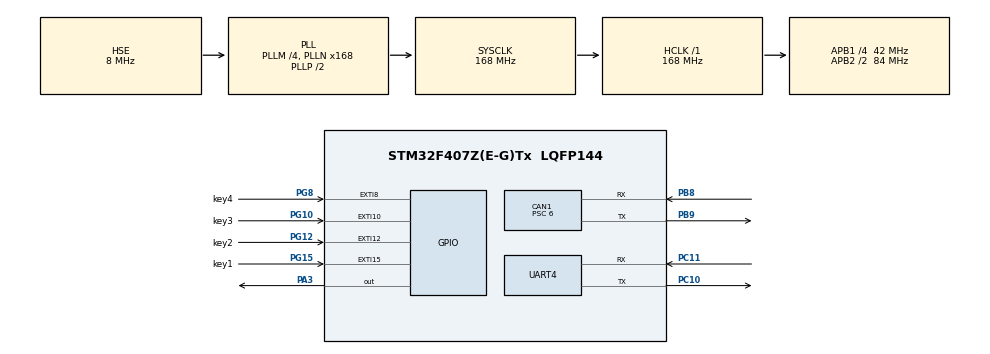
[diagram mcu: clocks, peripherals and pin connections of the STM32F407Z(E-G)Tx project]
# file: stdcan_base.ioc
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CAN1.BS1=CAN_BS1_10TQ
CAN1.BS2=CAN_BS2_3TQ
CAN1.CalculateBaudRate=500000
CAN1.CalculateTimeBit=2000
CAN1.CalculateTimeQuantum=142.85714285714286
CAN1.Prescaler=6
Mcu.Family=STM32F4
Mcu.Name=STM32F407Z(E-G)Tx
Mcu.Package=LQFP144
NVIC.CAN1_RX0_IRQn=true\:0\:0\:false\:false\:true\:true\:true
NVIC.CAN1_RX1_IRQn=true\:0\:0\:false\:false\:true\:true\:true
NVIC.CAN1_TX_IRQn=true\:0\:0\:false\:false\:true\:true\:true
NVIC.EXTI15_10_IRQn=true\:2\:0\:true\:false\:true\:true\:true
NVIC.EXTI9_5_IRQn=true\:2\:0\:true\:false\:true\:true\:true
NVIC.PriorityGroup=NVIC_PRIORITYGROUP_4
NVIC.TIM6_DAC_IRQn=true\:15\:0\:false\:false\:true\:false\:true
NVIC.TIM7_IRQn=true\:0\:0\:false\:false\:true\:true\:true
NVIC.TimeBase=TIM6_DAC_IRQn
NVIC.TimeBaseIP=TIM6
NVIC.UART4_IRQn=true\:0\:0\:false\:false\:true\:true\:true
PA3.GPIO_ModeDefaultOutputPP=GPIO_MODE_OUTPUT_PP
PA3.GPIO_PuPd=GPIO_PULLUP
PA3.GPIO_Speed=GPIO_SPEED_FREQ_HIGH
PA3.PinState=GPIO_PIN_RESET
PA3.Signal=GPIO_Output
PB8.Mode=CAN_Activate
PB8.Signal=CAN1_RX
PB9.Mode=CAN_Activate
PB9.Signal=CAN1_TX
PC10.Mode=Asynchronous
PC10.Signal=UART4_TX
PC11.Mode=Asynchronous
PC11.Signal=UART4_RX
PC14-OSC32_IN.Mode=LSE-External-Oscillator
PC14-OSC32_IN.Signal=RCC_OSC32_IN
PC15-OSC32_OUT.Mode=LSE-External-Oscillator
PC15-OSC32_OUT.Signal=RCC_OSC32_OUT
PG10.GPIO_Label=key3
PG10.GPIO_ModeDefaultEXTI=GPIO_MODE_IT_FALLING
PG10.GPIO_PuPd=GPIO_PULLUP
PG10.Signal=GPXTI10
PG12.GPIO_Label=key2
PG12.GPIO_ModeDefaultEXTI=GPIO_MODE_IT_FALLING
PG12.GPIO_PuPd=GPIO_PULLUP
PG12.Signal=GPXTI12
PG15.GPIO_Label=key1
PG15.GPIO_ModeDefaultEXTI=GPIO_MODE_IT_FALLING
PG15.GPIO_PuPd=GPIO_PULLUP
PG15.Signal=GPXTI15
PG8.GPIO_Label=key4
PG8.GPIO_ModeDefaultEXTI=GPIO_MODE_IT_FALLING
PG8.GPIO_PuPd=GPIO_PULLUP
PG8.Signal=GPXTI8
PH0-OSC_IN.Mode=HSE-External-Oscillator
PH0-OSC_IN.Signal=RCC_OSC_IN
PH1-OSC_OUT.Mode=HSE-External-Oscillator
PH1-OSC_OUT.Signal=RCC_OSC_OUT
ProjectManager.HeapSize=0x4000
ProjectManager.StackSize=0x2000
ProjectManager.TargetToolchain=MDK-ARM V5
RCC.48MHZClocksFreq_Value=84000000
RCC.AHBFreq_Value=168000000
RCC.APB1CLKDivider=RCC_HCLK_DIV4
RCC.APB1Freq_Value=42000000
RCC.APB1TimFreq_Value=84000000
RCC.APB2CLKDivider=RCC_HCLK_DIV2
RCC.APB2Freq_Value=84000000
RCC.APB2TimFreq_Value=168000000
RCC.CortexFreq_Value=168000000
RCC.HCLKFreq_Value=168000000
RCC.HSE_VALUE=8000000
RCC.HSI_VALUE=16000000
RCC.PLLM=4
RCC.PLLN=168
RCC.PLLSourceVirtual=RCC_PLLSOURCE_HSE
RCC.SYSCLKFreq_VALUE=168000000
RCC.SYSCLKSource=RCC_SYSCLKSOURCE_PLLCLK
RCC.VCOOutputFreq_Value=336000000
TIM7.Period=1000-1
TIM7.Prescaler=84-1
UART4.VirtualMode=Asynchronous
VP_SYS_VS_tim6.Mode=TIM6
VP_TIM7_VS_ClockSourceINT.Mode=Enable_Timer
board=custom

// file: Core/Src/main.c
/* USER CODE BEGIN Header */
/**
  ******************************************************************************
  * @file           : main.c
  * @brief          : Main program body
  ******************************************************************************
  * @attention
  *
  * Copyright (c) 2025 STMicroelectronics.
  * All rights reserved.
  *
  * This software is licensed under terms that can be found in the LICENSE file
  * in the root directory of this software component.
  * If no LICENSE file comes with this software, it is provided AS-IS.
  *
  ******************************************************************************
  */
/* USER CODE END Header */
#include "main.h"
#include "can.h"
#include "tim.h"
#include "usart.h"
#include "gpio.h"

/* USER CODE BEGIN Includes */
#include "string.h"
#include "EventRecorder.h"
#include "CO_app_STM32.h"
#include "JAWD_SPEED.h"
#include "key.h"
#include "canopen_operate.h"
#include "modbus_tim.h"
#include "modbus_slave.h"
#include "modbus_usart.h"
#include "modbus_msg.h"
#include "user_lib.h"
/* USER CODE END Includes */

void SystemClock_Config(void);

int main(void)
{

  /* MCU Configuration--------------------------------------------------------*/

  /* Reset of all peripherals, Initializes the Flash interface and the Systick. */
  HAL_Init();

  /* Configure the system clock */
  SystemClock_Config();

  /* Initialize all configured peripherals */
  MX_GPIO_Init();
  MX_CAN1_Init();
  MX_UART4_Init();
  MX_TIM7_Init();
	bsp_InitHardTimer();
	bsp_InitUart();
  /* USER CODE BEGIN 2 */
	/* EventRecorder调试开启 */
	EventRecorderInitialize(EventRecordAll, 1U);
	EventRecorderStart();

	/* CANopenNode初始化 */
	CANopenNodeSTM32 canOpenNodeSTM32;
	canOpenNodeSTM32.CANHandle = &hcan1;
	canOpenNodeSTM32.HWInitFunction = MX_CAN1_Init;
	canOpenNodeSTM32.timerHandle = &htim7;
	canOpenNodeSTM32.desiredNodeID = 29;
	canOpenNodeSTM32.baudrate = 1000;
	canopen_app_init(&canOpenNodeSTM32);

	/*初始化按键fifo  */
	key_fifoinit(&s_tKey);

	MSG_T ucMsg;
  /* USER CODE END 2 */

  /* Infinite loop */
  /* USER CODE BEGIN WHILE */
  while (1)
  {
		canopen_app_process();

		MODS_Poll();
		if (bsp_GetMsg(&ucMsg))
				{
					switch (ucMsg.MsgCode)
					{
						case MSG_MODS_05H:		/* 打印 发送的命令 和 应答的命令  刷新LED状态 */
						motor_05h();

							break;

						default:
							break;
					}
				}
    // 处理按键事件
    uint8_t key;
    while ((key = bsp_GetKey()) != KEY_NONE)
    {
        switch (key)
			{
				case KEY_1_DOWN:			/* K1键按下 */
					printf("K1键按下\r\n");
					motorstart();

					break;

				case KEY_2_DOWN:				/* K1键弹起 */
					printf("K2键按下\r\n");
					motorstop();
					break;

				case KEY_3_DOWN:			/* K2键按下 */
					printf("K3键按下\r\n");

					break;

				case KEY_4_DOWN:				/* K2键弹起 */
					printf("K4键按下\r\n");

					break;

				default:
					/* 其它的键值不处理 */
					break;
			}
    }

	}

    /* USER CODE END WHILE */

  }

void SystemClock_Config(void)
{
  RCC_OscInitTypeDef RCC_OscInitStruct = {0};
  RCC_ClkInitTypeDef RCC_ClkInitStruct = {0};

  /** Configure the main internal regulator output voltage
  */
  __HAL_RCC_PWR_CLK_ENABLE();
  __HAL_PWR_VOLTAGESCALING_CONFIG(PWR_REGULATOR_VOLTAGE_SCALE1);
  /** Initializes the RCC Oscillators according to the specified parameters
  * in the RCC_OscInitTypeDef structure.
  */
  RCC_OscInitStruct.OscillatorType = RCC_OSCILLATORTYPE_HSE;
  RCC_OscInitStruct.HSEState = RCC_HSE_ON;
  RCC_OscInitStruct.PLL.PLLState = RCC_PLL_ON;
  RCC_OscInitStruct.PLL.PLLSource = RCC_PLLSOURCE_HSE;
  RCC_OscInitStruct.PLL.PLLM = 4;
  RCC_OscInitStruct.PLL.PLLN = 168;
  RCC_OscInitStruct.PLL.PLLP = RCC_PLLP_DIV2;
  RCC_OscInitStruct.PLL.PLLQ = 4;
  if (HAL_RCC_OscConfig(&RCC_OscInitStruct) != HAL_OK)
  {
    Error_Handler();
  }
  /** Initializes the CPU, AHB and APB buses clocks
  */
  RCC_ClkInitStruct.ClockType = RCC_CLOCKTYPE_HCLK|RCC_CLOCKTYPE_SYSCLK
                              |RCC_CLOCKTYPE_PCLK1|RCC_CLOCKTYPE_PCLK2;
  RCC_ClkInitStruct.SYSCLKSource = RCC_SYSCLKSOURCE_PLLCLK;
  RCC_ClkInitStruct.AHBCLKDivider = RCC_SYSCLK_DIV1;
  RCC_ClkInitStruct.APB1CLKDivider = RCC_HCLK_DIV4;
  RCC_ClkInitStruct.APB2CLKDivider = RCC_HCLK_DIV2;

  if (HAL_RCC_ClockConfig(&RCC_ClkInitStruct, FLASH_LATENCY_5) != HAL_OK)
  {
    Error_Handler();
  }
}

/* USER CODE END 4 */

void HAL_TIM_PeriodElapsedCallback(TIM_HandleTypeDef *htim)
{
  if (htim->Instance == TIM6) {
    HAL_IncTick();
  }
  /* USER CODE BEGIN Callback 1 */
	if(htim == canopenNodeSTM32->timerHandle)
	{
	canopen_app_interrupt();
	}
  /* USER CODE END Callback 1 */
}

void Error_Handler(void)
{
  __disable_irq();
  while (1)
  {
  }
}
